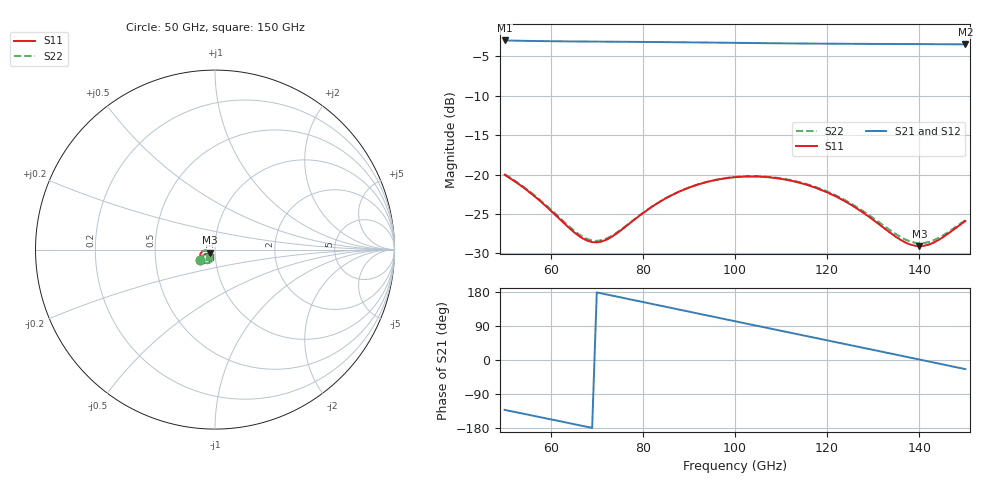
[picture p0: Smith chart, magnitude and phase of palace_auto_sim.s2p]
#  GHZ S DB R 50
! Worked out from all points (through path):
!   101 points, 50 GHz to 150 GHz, reference 50 ohm
!   highest |S21| = -2.98 dB at 50 GHz (marker M1); lowest = -3.5 dB at 150 GHz (marker M2)
!   group delay of S21, straight-line fit = 7.02 ps
!   lowest |S11| = -29.1 dB at 140 GHz (marker M3), VSWR 1.07, Z = 47 - j1.65 ohm
!   |S11| at or under -10 dB: start of sweep to end of sweep
!   |S22| runs from -28.7 to -20.0 dB; largest |S21 - S12| = 7.8e-14
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50  -20.03 -144.2  -2.98 -131.6  -2.98 -131.6  -19.96 -144.0
55  -22.06 -151.9  -3.04 -144.1  -3.04 -144.1  -21.96 -151.8
59  -24.03 -154.7  -3.07 -154.1  -3.07 -154.1  -23.90 -154.6
63  -26.24 -152.2  -3.10 -164.1  -3.10 -164.1  -26.05 -152.2
67  -28.13 -141.2  -3.12 -174.1  -3.12 -174.1  -27.92 -141.7
69  -28.57 -132.8  -3.13 -179.1  -3.13 -179.1  -28.37 -133.6
72  -28.30 -120.0  -3.14 173.3  -3.14 173.3  -28.15 -121.1
78  -25.80 -106.9  -3.16 158.1  -3.16 158.1  -25.76 -107.8
84  -23.35 -108.3  -3.19 142.9  -3.19 142.9  -23.33 -108.9
92  -21.26 -119.3  -3.24 122.6  -3.24 122.6  -21.24 -119.7
96  -20.67 -126.3  -3.26 112.4  -3.26 112.4  -20.65 -126.6
100  -20.34 -133.8  -3.29 102.3  -3.29 102.3  -20.31 -133.9
104  -20.25 -141.3  -3.31 92.2  -3.31 92.2  -20.21 -141.3
108  -20.39 -148.8  -3.34 82.1  -3.34 82.1  -20.34 -148.7
112  -20.76 -155.9  -3.36 72.0  -3.36 72.0  -20.70 -155.8
117  -21.58 -164.1  -3.38 59.4  -3.38 59.4  -21.49 -163.9
126  -24.14 -174.2  -3.41 36.7  -3.41 36.7  -23.97 -173.7
134  -27.53 -169.7  -3.43 16.5  -3.43 16.5  -27.21 -169.6
137  -28.63 -161.5  -3.44 8.9  -3.44 8.9  -28.25 -162.0
140  -29.09 -150.0  -3.45 1.3  -3.45 1.3  -28.72 -151.3
144  -28.36 -135.3  -3.46 -8.9  -3.46 -8.9  -28.10 -137.4
150  -25.89 -125.3  -3.48 -24.1  -3.48 -24.1  -25.79 -127.3
